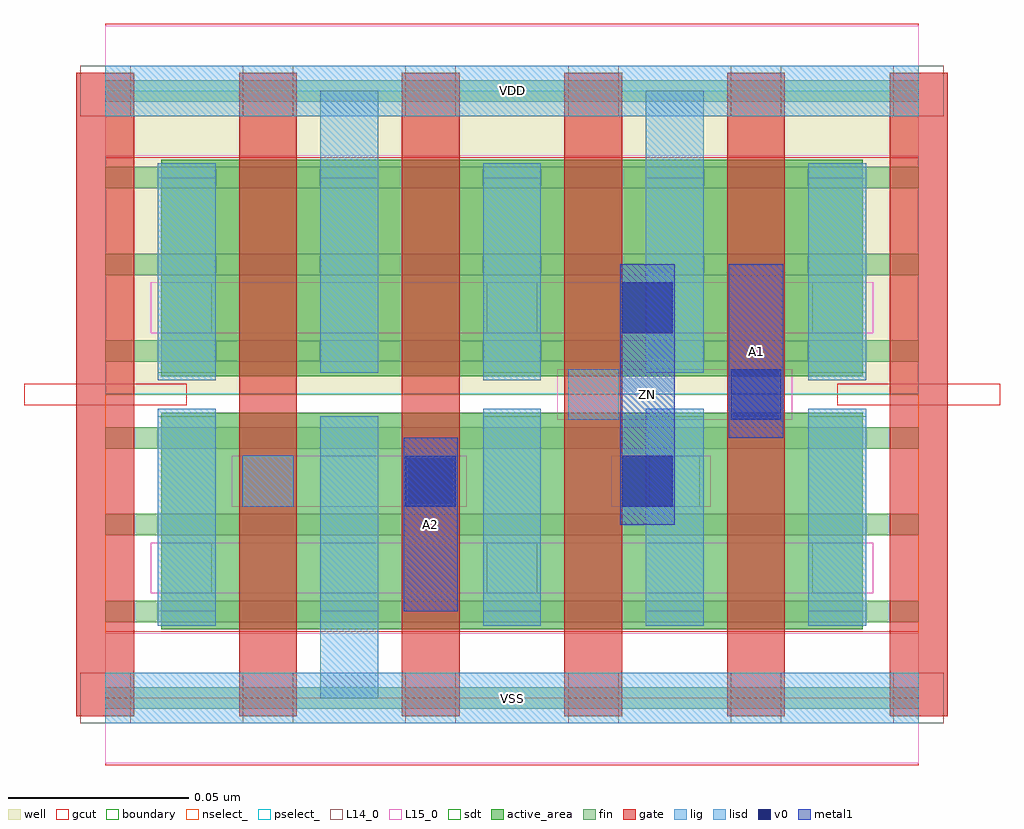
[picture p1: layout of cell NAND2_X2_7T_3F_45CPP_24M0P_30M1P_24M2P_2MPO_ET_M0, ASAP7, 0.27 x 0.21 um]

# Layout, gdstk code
import gdstk
lib = gdstk.Library(unit=1e-6, precision=2.5e-10)
def R(c, l, rs):  # rectangles x0, y0, x1, y1
    for r in rs: c.add(gdstk.rectangle(r[:2], r[2:], *l))
def A(c, l, x, y, w, h, nx, ny, dx, dy):  # array of equal rectangles
    R(c, l, [(x+i*dx, y+j*dy, x+i*dx+w, y+j*dy+h) for i in range(nx) for j in range(ny)])
well = (1, 0)
fin = (2, 0)
gate = (7, 0)
gcut = (10, 0)
active_area = (11, 0)
nselect_ = (12, 0)
pselect_ = (13, 0)
L14_0 = (14, 0)
L15_0 = (15, 0)
lig = (16, 0)
lisd = (17, 0)
v0 = (18, 0)
metal1 = (19, 0)
sdt = (88, 0)
boundary = (100, 0)

nand2_x2_7t_3f_45cpp_24m = lib.new_cell('NAND2_X2_7T_3F_45CPP_24M0P_30M1P_24M2P_2MPO_ET_M0')
R(nand2_x2_7t_3f_45cpp_24m, well, [(0,0.084,0.225,0.168)])
A(nand2_x2_7t_3f_45cpp_24m, fin, 0, -0.003, 0.225, 0.006, 1, 8, 0, 0.024)
A(nand2_x2_7t_3f_45cpp_24m, gate, -0.008, -0.005, 0.016, 0.178, 6, 1, 0.045, 0)
R(nand2_x2_7t_3f_45cpp_24m, gcut, [(0,-0.0185,0.225,0.0185), (-0.0225,0.081,0.0225,0.087), (0.2025,0.081,0.2475,0.087), (0,0.1495,0.225,0.1865)])
R(nand2_x2_7t_3f_45cpp_24m, active_area, [(0.0155,0.019,0.1195,0.079), (0.1055,0.019,0.2095,0.079), (0.0155,0.089,0.1195,0.149), (0.1055,0.089,0.2095,0.149)])
R(nand2_x2_7t_3f_45cpp_24m, nselect_, [(0,0,0.225,0.084)])
R(nand2_x2_7t_3f_45cpp_24m, pselect_, [(0,0.084,0.225,0.168)])
A(nand2_x2_7t_3f_45cpp_24m, L14_0, -0.007, -0.007, 0.014, 0.014, 6, 2, 0.045, 0.168)
A(nand2_x2_7t_3f_45cpp_24m, L14_0, 0.0155, 0.029, 0.014, 0.014, 3, 2, 0.09, 0.072)
R(nand2_x2_7t_3f_45cpp_24m, L14_0, [(0.038,0.053,0.052,0.067), (0.083,0.053,0.097,0.067), (0.1505,0.053,0.1645,0.067), (0.128,0.077,0.142,0.091), (0.173,0.077,0.187,0.091)])
R(nand2_x2_7t_3f_45cpp_24m, L15_0, [(0,-0.018,0.225,0.018), (0.0125,0.029,0.2125,0.043), (0.035,0.053,0.1,0.067), (0.14,0.053,0.1675,0.067), (0.125,0.077,0.19,0.091), (0.0125,0.101,0.2125,0.115), (0,0.15,0.225,0.186)])
R(nand2_x2_7t_3f_45cpp_24m, lig, [(0,-0.007,0.225,0.007), (0.038,0.053,0.052,0.067), (0.083,0.053,0.097,0.067), (0.128,0.077,0.142,0.091), (0.173,0.077,0.187,0.091), (0,0.161,0.225,0.175)])
A(nand2_x2_7t_3f_45cpp_24m, lisd, 0.1045, 0.02, 0.016, 0.06, 3, 1, 0.045, 0)
A(nand2_x2_7t_3f_45cpp_24m, lisd, 0.0145, 0.088, 0.016, 0.06, 3, 1, 0.09, 0)
R(nand2_x2_7t_3f_45cpp_24m, lisd, [(0.0595,0,0.0755,0.078), (0.0145,0.02,0.0305,0.08), (0.0595,0.09,0.0755,0.168), (0.1495,0.09,0.1655,0.168)])
R(nand2_x2_7t_3f_45cpp_24m, v0, [(0.083,0.053,0.097,0.067), (0.143,0.053,0.157,0.067), (0.173,0.077,0.187,0.091), (0.143,0.101,0.157,0.115)])
R(nand2_x2_7t_3f_45cpp_24m, metal1, [(0.0825,0.024,0.0975,0.072), (0.1425,0.048,0.1575,0.12), (0.1725,0.072,0.1875,0.12)])
A(nand2_x2_7t_3f_45cpp_24m, sdt, 0.0145, 0.024, 0.016, 0.054, 5, 2, 0.045, 0.066)
R(nand2_x2_7t_3f_45cpp_24m, boundary, [(0,0,0.225,0.168)])
nand2_x2_7t_3f_45cpp_24m.add(gdstk.Label('A2', (0.09,0.048), layer=19, texttype=251))
nand2_x2_7t_3f_45cpp_24m.add(gdstk.Label('A1', (0.18,0.096), layer=19, texttype=251))
nand2_x2_7t_3f_45cpp_24m.add(gdstk.Label('ZN', (0.15,0.084), layer=19, texttype=251))
nand2_x2_7t_3f_45cpp_24m.add(gdstk.Label('VDD', (0.1125,0.168), layer=15, texttype=251))
nand2_x2_7t_3f_45cpp_24m.add(gdstk.Label('VSS', (0.1125,0), layer=15, texttype=251))
nand2_x2_7t_3f_45cpp_24m.add(gdstk.Label('VDD', (0.1125,0.168), layer=1, texttype=251))
nand2_x2_7t_3f_45cpp_24m.add(gdstk.Label('VSS', (0.1125,0), layer=3, texttype=251))

lib.write_gds('NAND2_X2_7T_3F_45CPP_24M0P_30M1P_24M2P_2MPO_ET_M0.gds')
